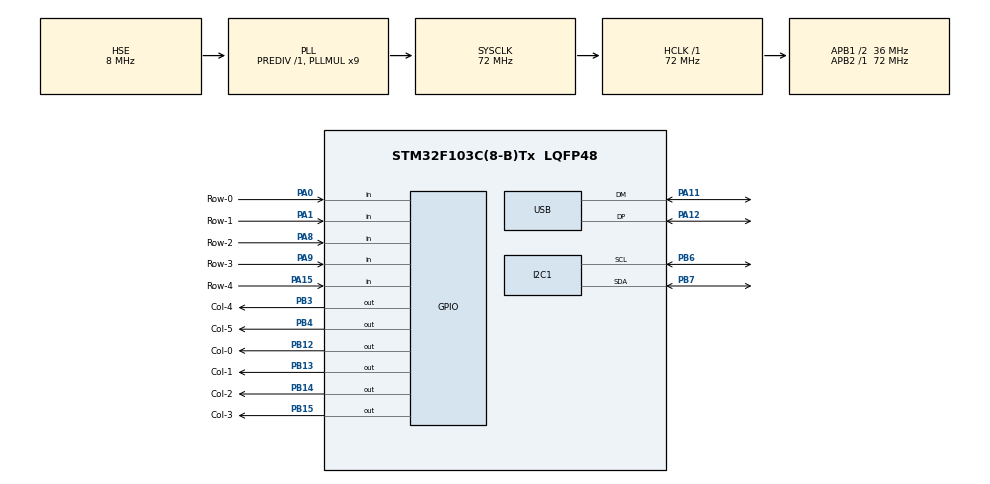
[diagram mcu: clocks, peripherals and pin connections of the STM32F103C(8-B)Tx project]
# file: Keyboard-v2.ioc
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FREERTOS.Tasks01=defaultTask,24,128,StartDefaultTask,Default,NULL,Dynamic,NULL,NULL
FREERTOS.configUSE_NEWLIB_REENTRANT=1
I2C1.I2C_Mode=I2C_Fast
Mcu.Family=STM32F1
Mcu.Name=STM32F103C(8-B)Tx
Mcu.Package=LQFP48
NVIC.PriorityGroup=NVIC_PRIORITYGROUP_4
NVIC.TIM2_IRQn=true\:15\:0\:false\:false\:true\:false\:false\:true\:true
NVIC.TimeBase=TIM2_IRQn
NVIC.TimeBaseIP=TIM2
NVIC.USB_LP_CAN1_RX0_IRQn=true\:5\:0\:false\:false\:true\:true\:false\:true\:true
PA0-WKUP.GPIO_Label=Row-0
PA0-WKUP.GPIO_PuPd=GPIO_PULLDOWN
PA0-WKUP.Signal=GPIO_Input
PA1.GPIO_Label=Row-1
PA1.GPIO_PuPd=GPIO_PULLDOWN
PA1.Signal=GPIO_Input
PA11.Mode=Device
PA11.Signal=USB_DM
PA12.Mode=Device
PA12.Signal=USB_DP
PA15.GPIO_Label=Row-4
PA15.GPIO_PuPd=GPIO_PULLDOWN
PA15.Signal=GPIO_Input
PA8.GPIO_Label=Row-2
PA8.GPIO_PuPd=GPIO_PULLDOWN
PA8.Signal=GPIO_Input
PA9.GPIO_Label=Row-3
PA9.GPIO_PuPd=GPIO_PULLDOWN
PA9.Signal=GPIO_Input
PB12.GPIO_Label=Col-0
PB12.GPIO_Speed=GPIO_SPEED_FREQ_HIGH
PB12.Signal=GPIO_Output
PB13.GPIO_Label=Col-1
PB13.GPIO_Speed=GPIO_SPEED_FREQ_HIGH
PB13.Signal=GPIO_Output
PB14.GPIO_Label=Col-2
PB14.GPIO_Speed=GPIO_SPEED_FREQ_HIGH
PB14.Signal=GPIO_Output
PB15.GPIO_Label=Col-3
PB15.GPIO_Speed=GPIO_SPEED_FREQ_HIGH
PB15.Signal=GPIO_Output
PB3.GPIO_Label=Col-4
PB3.GPIO_Speed=GPIO_SPEED_FREQ_HIGH
PB3.Signal=GPIO_Output
PB4.GPIO_Label=Col-5
PB4.GPIO_Speed=GPIO_SPEED_FREQ_HIGH
PB4.Signal=GPIO_Output
PB6.Mode=I2C
PB6.Signal=I2C1_SCL
PB7.Mode=I2C
PB7.Signal=I2C1_SDA
PD0-OSC_IN.Mode=HSE-External-Oscillator
PD0-OSC_IN.Signal=RCC_OSC_IN
PD1-OSC_OUT.Mode=HSE-External-Oscillator
PD1-OSC_OUT.Signal=RCC_OSC_OUT
ProjectManager.HeapSize=0x200
ProjectManager.StackSize=0x400
ProjectManager.TargetToolchain=Makefile
RCC.AHBFreq_Value=72000000
RCC.APB1CLKDivider=RCC_HCLK_DIV2
RCC.APB1Freq_Value=36000000
RCC.APB1TimFreq_Value=72000000
RCC.APB2Freq_Value=72000000
RCC.APB2TimFreq_Value=72000000
RCC.HCLKFreq_Value=72000000
RCC.PLLMUL=RCC_PLL_MUL9
RCC.SYSCLKFreq_VALUE=72000000
RCC.SYSCLKSource=RCC_SYSCLKSOURCE_PLLCLK
RCC.USBFreq_Value=48000000
RCC.USBPrescaler=RCC_USBCLKSOURCE_PLL_DIV1_5
USB_DEVICE.CLASS_NAME_FS=HID
USB_DEVICE.PRODUCT_STRING_HID_FS=STM32 Keyboard
USB_DEVICE.VirtualMode=Hid
USB_DEVICE.VirtualModeFS=Hid_FS
VP_FREERTOS_VS_CMSIS_V2.Mode=CMSIS_V2
VP_SYS_VS_ND.Mode=No_Debug
VP_SYS_VS_tim2.Mode=TIM2
VP_USB_DEVICE_VS_USB_DEVICE_HID_FS.Mode=HID_FS
board=custom

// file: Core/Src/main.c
#include "main.h"
#include "FreeRTOS.h"
#include "check_keys.h"
#include "cmsis_os.h"
#include "left.h"
#include "portmacro.h"
#include "rigth.h"
#include "ssd1306.h"
#include "stm32f1xx_hal.h"
#include "task.h"
#include "usb_device.h"
#include "usb_send.h"
#include "usbd_def.h"
#include "usbd_hid.h"

I2C_HandleTypeDef hi2c1;

/* Definitions for defaultTask */
osThreadId_t defaultTaskHandle;
const osThreadAttr_t defaultTask_attributes = {
    .name = "defaultTask",
    .stack_size = 128 * 4,
    .priority = (osPriority_t)osPriorityNormal,
};

void SystemClock_Config(void);
static void MX_GPIO_Init(void);
static void MX_I2C1_Init(void);
void StartDefaultTask(void *argument);

/* USER CODE BEGIN 0 */

extern USBD_HandleTypeDef hUsbDeviceFS;

typedef struct {
  uint8_t MODIFIER;
  uint8_t RESERVED;
  uint8_t KEYCODE0;
  uint8_t KEYCODE1;
  uint8_t KEYCODE2;
  uint8_t KEYCODE3;
  uint8_t KEYCODE4;
  uint8_t KEYCODE5;
} keyboardBuffer;

/* extern QueueHandle_t usb_send_queue; */

keyboardBuffer buffer = {0, 0, 0, 0, 0, 0, 0, 0};
keyboard_command_t keyboard_commands_to_send;

/* USER CODE END PFP */

/* Private user code ---------------------------------------------------------*/
/* USER CODE BEGIN 0 */

/* USER CODE END 0 */

//test the keys of the keyboard abnt2
void test_task(void *vparams) {
	buffer.KEYCODE0 = 0 ;
	extern USBD_HandleTypeDef hUsbDeviceFS;

  while (1) {
    vTaskDelay(8000 / portTICK_PERIOD_MS);
		for(int i=0; i <255; i++){
			buffer.KEYCODE0 = i;

      USBD_HID_SendReport(&hUsbDeviceFS, &buffer,
                          sizeof(keyboard_command_t));
      vTaskDelay(80 / portTICK_PERIOD_MS);

			buffer.KEYCODE0 = 0;
      USBD_HID_SendReport(&hUsbDeviceFS, &buffer,
                          sizeof(keyboard_command_t));
      vTaskDelay(80 / portTICK_PERIOD_MS);
		}
  }
}

/* USER CODE END 0 */

int main(void) {
  // Initialization
  HAL_Init();
  SystemClock_Config();
  MX_GPIO_Init();
  MX_USB_DEVICE_Init();
  MX_I2C1_Init();
  ssd1306_Init();

  osKernelInitialize();
  check_keys_task_init();
  usb_send_task_init();
  /* defaultTaskHandle = osThreadNew(StartDefaultTask, NULL, */
  /* &defaultTask_attributes); */

  /* USER CODE BEGIN RTOS_THREADS */
  /* xTaskCreate(&test_task, "Test_task", 100, NULL, 15, NULL); */

  osKernelStart();

  while (1) {
    /* USER CODE END WHILE */

  }
}

void SystemClock_Config(void) {
  RCC_OscInitTypeDef RCC_OscInitStruct = {0};
  RCC_ClkInitTypeDef RCC_ClkInitStruct = {0};
  RCC_PeriphCLKInitTypeDef PeriphClkInit = {0};

  /** Initializes the RCC Oscillators according to the specified parameters
   * in the RCC_OscInitTypeDef structure.
   */
  RCC_OscInitStruct.OscillatorType = RCC_OSCILLATORTYPE_HSE;
  RCC_OscInitStruct.HSEState = RCC_HSE_ON;
  RCC_OscInitStruct.HSEPredivValue = RCC_HSE_PREDIV_DIV1;
  RCC_OscInitStruct.HSIState = RCC_HSI_ON;
  RCC_OscInitStruct.PLL.PLLState = RCC_PLL_ON;
  RCC_OscInitStruct.PLL.PLLSource = RCC_PLLSOURCE_HSE;
  RCC_OscInitStruct.PLL.PLLMUL = RCC_PLL_MUL9;
  if (HAL_RCC_OscConfig(&RCC_OscInitStruct) != HAL_OK) {
    Error_Handler();
  }

  /** Initializes the CPU, AHB and APB buses clocks
   */
  RCC_ClkInitStruct.ClockType = RCC_CLOCKTYPE_HCLK | RCC_CLOCKTYPE_SYSCLK |
                                RCC_CLOCKTYPE_PCLK1 | RCC_CLOCKTYPE_PCLK2;
  RCC_ClkInitStruct.SYSCLKSource = RCC_SYSCLKSOURCE_PLLCLK;
  RCC_ClkInitStruct.AHBCLKDivider = RCC_SYSCLK_DIV1;
  RCC_ClkInitStruct.APB1CLKDivider = RCC_HCLK_DIV2;
  RCC_ClkInitStruct.APB2CLKDivider = RCC_HCLK_DIV1;

  if (HAL_RCC_ClockConfig(&RCC_ClkInitStruct, FLASH_LATENCY_2) != HAL_OK) {
    Error_Handler();
  }
  PeriphClkInit.PeriphClockSelection = RCC_PERIPHCLK_USB;
  PeriphClkInit.UsbClockSelection = RCC_USBCLKSOURCE_PLL_DIV1_5;
  if (HAL_RCCEx_PeriphCLKConfig(&PeriphClkInit) != HAL_OK) {
    Error_Handler();
  }
}

static void MX_I2C1_Init(void) {

  hi2c1.Instance = I2C1;
  hi2c1.Init.ClockSpeed = 400000;
  hi2c1.Init.DutyCycle = I2C_DUTYCYCLE_2;
  hi2c1.Init.OwnAddress1 = 0;
  hi2c1.Init.AddressingMode = I2C_ADDRESSINGMODE_7BIT;
  hi2c1.Init.DualAddressMode = I2C_DUALADDRESS_DISABLE;
  hi2c1.Init.OwnAddress2 = 0;
  hi2c1.Init.GeneralCallMode = I2C_GENERALCALL_DISABLE;
  hi2c1.Init.NoStretchMode = I2C_NOSTRETCH_DISABLE;
  if (HAL_I2C_Init(&hi2c1) != HAL_OK) {
    Error_Handler();
  }
}

static void MX_GPIO_Init(void) {
  GPIO_InitTypeDef GPIO_InitStruct = {0};

  /* GPIO Ports Clock Enable */
  __HAL_RCC_GPIOD_CLK_ENABLE();
  __HAL_RCC_GPIOA_CLK_ENABLE();
  __HAL_RCC_GPIOB_CLK_ENABLE();

  /*Configure GPIO pin Output Level */
  HAL_GPIO_WritePin(GPIOB,
                    Col_0_Pin | Col_1_Pin | Col_2_Pin | Col_3_Pin | Col_4_Pin |
                        Col_5_Pin,
                    GPIO_PIN_RESET);

  /*Configure GPIO pins : Row_0_Pin Row_1_Pin Row_2_Pin Row_3_Pin
                           Row_4_Pin */
  GPIO_InitStruct.Pin =
      Row_0_Pin | Row_1_Pin | Row_2_Pin | Row_3_Pin | Row_4_Pin;
  GPIO_InitStruct.Mode = GPIO_MODE_INPUT;
  GPIO_InitStruct.Pull = GPIO_PULLDOWN;
  HAL_GPIO_Init(GPIOA, &GPIO_InitStruct);

  /*Configure GPIO pins : Col_0_Pin Col_1_Pin Col_2_Pin Col_3_Pin
                           Col_4_Pin Col_5_Pin */
  GPIO_InitStruct.Pin =
      Col_0_Pin | Col_1_Pin | Col_2_Pin | Col_3_Pin | Col_4_Pin | Col_5_Pin;
  GPIO_InitStruct.Mode = GPIO_MODE_OUTPUT_PP;
  GPIO_InitStruct.Pull = GPIO_NOPULL;
  GPIO_InitStruct.Speed = GPIO_SPEED_FREQ_HIGH;
  HAL_GPIO_Init(GPIOB, &GPIO_InitStruct);
}

void StartDefaultTask(void *argument) {
  /* init code for USB_DEVICE */
  MX_USB_DEVICE_Init();
  for (;;) {
    osDelay(1);
  }
}

void HAL_TIM_PeriodElapsedCallback(TIM_HandleTypeDef *htim) {
  if (htim->Instance == TIM2) {
    HAL_IncTick();
  }
}

void Error_Handler(void) {
  __disable_irq();
  while (1) {
  }
}

#ifdef USE_FULL_ASSERT
/**
 * @brief  Reports the name of the source file and the source line number
 *         where the assert_param error has occurred.
 * @param  file: pointer to the source file name
 * @param  line: assert_param error line source number
 * @retval None
 */
void assert_failed(uint8_t *file, uint32_t line) {
  /* USER CODE BEGIN 6 */
  /* User can add his own implementation to report the file name and line
     number, ex: printf("Wrong parameters value: file %s on line %d\r\n", file,
     line) */
  /* USER CODE END 6 */
}
#endif /* USE_FULL_ASSERT */
